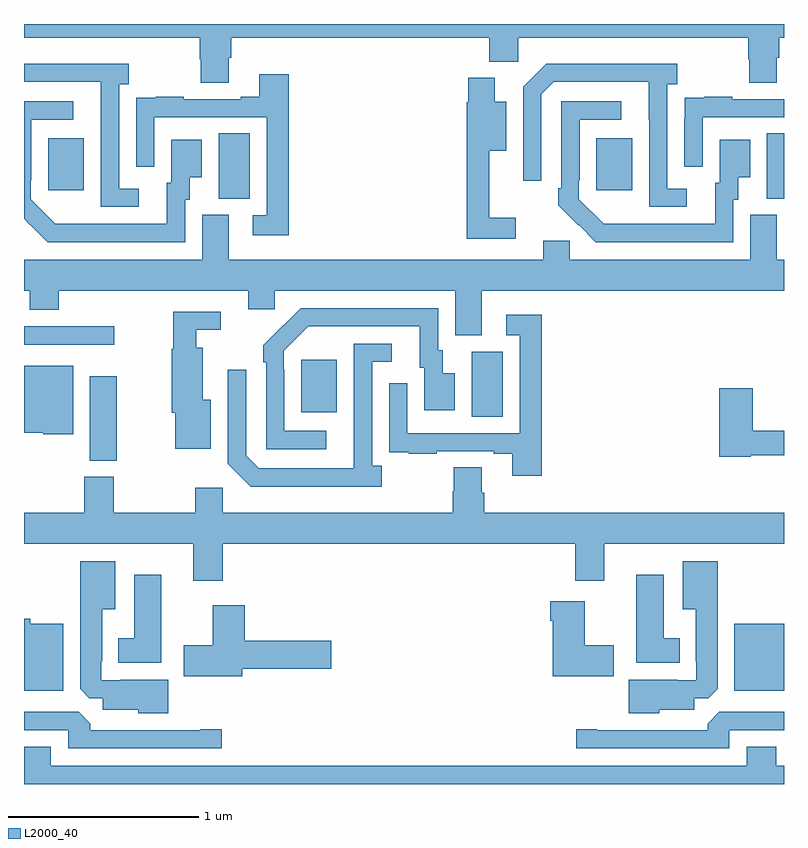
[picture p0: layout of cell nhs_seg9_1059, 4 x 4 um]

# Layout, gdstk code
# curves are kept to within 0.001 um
import gdstk
lib = gdstk.Library(unit=1e-6, precision=1e-09)
def R(c, l, rs):  # rectangles x0, y0, x1, y1
    for r in rs: c.add(gdstk.rectangle(r[:2], r[2:], *l))
def P(c, l, *ps):  # polygons
    for p in ps: c.add(gdstk.Polygon(p, *l))
L2000_40 = (2000, 40)

nhs_seg9_1059 = lib.new_cell('nhs_seg9_1059')
R(nhs_seg9_1059, L2000_40, [(172.739,1184.99,173,1185.343), (169.346,1186.201,169.488,1186.645), (171.356,1186.432,171.52,1186.776), (170.459,1186.457,170.647,1186.732), (169,1186.812,169.474,1186.908), (170.024,1187.581,170.188,1187.924), (172.91,1187.581,173,1187.924), (169.127,1187.625,169.315,1187.899), (172.013,1187.625,172.201,1187.899)])
P(nhs_seg9_1059, L2000_40, [(169,1188.428),(169.925,1188.428),(169.925,1188.315),(169.93,1188.315),(169.93,1188.19),(170.077,1188.19),(170.077,1188.322),(170.09,1188.322),(170.09,1188.428),(171.449,1188.428),(171.449,1188.302),(171.6,1188.302),(171.6,1188.428),(172.811,1188.428),(172.811,1188.315),(172.816,1188.315),(172.816,1188.19),(172.963,1188.19),(172.963,1188.322),(172.976,1188.322),(172.976,1188.428),(173,1188.428),(173,1188.5),(169,1188.5)],
  [(169.603,1187.634),(169.5,1187.634),(169.5,1188.182),(169.552,1188.182),(169.552,1188.292),(169,1188.292),(169,1188.195),(169.403,1188.195),(169.403,1187.995),(169.404,1187.995),(169.404,1187.538),(169.603,1187.538)],
  [(172.489,1187.634),(172.386,1187.634),(172.386,1188.182),(172.438,1188.182),(172.438,1188.292),(171.748,1188.292),(171.627,1188.171),(171.627,1187.676),(171.723,1187.676),(171.723,1188.129),(171.789,1188.195),(172.289,1188.195),(172.29,1187.538),(172.489,1187.538)],
  [(170.393,1188.235),(170.237,1188.235),(170.237,1188.118),(170.141,1188.118),(170.141,1188.105),(169.841,1188.105),(169.841,1188.118),(169.693,1188.118),(169.693,1188.111),(169.591,1188.111),(169.591,1188.002),(169.59,1188.002),(169.59,1187.748),(169.686,1187.748),(169.686,1188.009),(170.277,1188.009),(170.277,1187.493),(170.205,1187.493),(170.205,1187.388),(170.393,1187.388)],
  [(171.589,1187.479),(171.449,1187.479),(171.449,1187.834),(171.538,1187.834),(171.538,1188.091),(171.478,1188.091),(171.478,1188.217),(171.338,1188.217),(171.338,1188.087),(171.331,1188.087),(171.331,1187.37),(171.589,1187.37)],
  [(172.572,1188.009),(173,1188.009),(173,1188.105),(172.727,1188.105),(172.727,1188.118),(172.579,1188.118),(172.579,1188.111),(172.477,1188.111),(172.477,1188.002),(172.476,1188.002),(172.476,1187.748),(172.572,1187.748)],
  [(172.734,1187.574),(172.759,1187.574),(172.759,1187.693),(172.822,1187.693),(172.822,1187.89),(172.661,1187.89),(172.661,1187.664),(172.637,1187.664),(172.637,1187.448),(172.05,1187.449),(171.921,1187.577),(171.921,1187.677),(171.924,1187.677),(171.924,1187.997),(172.144,1187.997),(172.144,1188.093),(171.828,1188.093),(171.828,1187.635),(171.813,1187.635),(171.813,1187.547),(172.01,1187.352),(172.734,1187.352)],
  [(169.848,1187.574),(169.873,1187.574),(169.873,1187.693),(169.936,1187.693),(169.936,1187.89),(169.775,1187.89),(169.775,1187.664),(169.751,1187.664),(169.751,1187.448),(169.164,1187.449),(169.035,1187.577),(169.035,1187.677),(169.038,1187.677),(169.038,1187.997),(169.258,1187.997),(169.258,1188.093),(169,1188.093),(169,1187.474),(169.032,1187.442),(169.033,1187.443),(169.124,1187.352),(169.848,1187.352)],
  [(171.409,1187.096),(173,1187.096),(173,1187.26),(172.963,1187.26),(172.963,1187.496),(172.823,1187.496),(172.823,1187.26),(171.873,1187.26),(171.873,1187.358),(171.734,1187.358),(171.734,1187.26),(170.077,1187.26),(170.077,1187.496),(169.937,1187.496),(169.937,1187.26),(169,1187.26),(169,1187.096),(169.031,1187.096),(169.031,1186.997),(169.184,1186.997),(169.184,1187.096),(170.18,1187.096),(170.18,1186.998),(170.319,1186.998),(170.319,1187.096),(171.269,1187.096),(171.269,1186.861),(171.409,1186.861)],
  [(170.59,1186.359),(170.37,1186.359),(170.37,1186.679),(170.367,1186.679),(170.367,1186.779),(170.496,1186.908),(171.083,1186.908),(171.083,1186.692),(171.107,1186.692),(171.107,1186.467),(171.268,1186.467),(171.268,1186.663),(171.205,1186.663),(171.205,1186.782),(171.18,1186.782),(171.18,1187.004),(170.456,1187.004),(170.259,1186.809),(170.259,1186.721),(170.274,1186.721),(170.274,1186.263),(170.59,1186.263)],
  [(169.984,1186.522),(169.942,1186.522),(169.942,1186.795),(169.906,1186.795),(169.906,1186.89),(170.035,1186.89),(170.035,1186.986),(169.785,1186.986),(169.785,1186.791),(169.777,1186.791),(169.777,1186.455),(169.796,1186.455),(169.796,1186.265),(169.984,1186.265)],
  [(171.725,1186.969),(171.537,1186.969),(171.537,1186.863),(171.609,1186.863),(171.609,1186.347),(171.018,1186.347),(171.018,1186.609),(170.922,1186.609),(170.922,1186.354),(170.923,1186.354),(170.923,1186.245),(171.025,1186.245),(171.025,1186.239),(171.173,1186.239),(171.173,1186.251),(171.473,1186.251),(171.473,1186.239),(171.569,1186.239),(171.569,1186.122),(171.725,1186.122)],
  [(170.884,1186.174),(170.832,1186.174),(170.832,1186.722),(170.935,1186.722),(170.935,1186.818),(170.736,1186.818),(170.735,1186.161),(170.235,1186.161),(170.169,1186.227),(170.169,1186.681),(170.073,1186.681),(170.073,1186.185),(170.194,1186.064),(170.884,1186.064)],
  [(169.258,1186.702),(169,1186.702),(169,1186.349),(169.101,1186.349),(169.101,1186.34),(169.258,1186.34)],
  [(172.824,1186.23),(173,1186.23),(173,1186.358),(172.836,1186.358),(172.836,1186.582),(172.658,1186.582),(172.658,1186.222),(172.824,1186.222)],
  [(170.045,1185.764),(171.902,1185.764),(171.902,1185.57),(172.054,1185.57),(172.054,1185.764),(173,1185.764),(173,1185.928),(171.422,1185.928),(171.422,1186.034),(171.409,1186.034),(171.409,1186.166),(171.262,1186.166),(171.262,1186.041),(171.257,1186.041),(171.257,1185.928),(170.046,1185.928),(170.046,1186.06),(169.9,1186.06),(169.9,1185.928),(169.473,1185.928),(169.473,1186.116),(169.318,1186.116),(169.318,1185.928),(169,1185.928),(169,1185.764),(169.892,1185.764),(169.892,1185.57),(170.045,1185.57)],
  [(172.344,1184.891),(172.528,1184.891),(172.528,1184.952),(172.602,1184.952),(172.651,1185.001),(172.651,1185.673),(172.466,1185.673),(172.466,1185.419),(172.535,1185.419),(172.535,1185.145),(172.539,1185.145),(172.539,1185.045),(172.439,1185.045),(172.439,1185.049),(172.184,1185.049),(172.184,1184.873),(172.344,1184.873)],
  [(169.759,1185.049),(169.507,1185.049),(169.507,1185.045),(169.407,1185.045),(169.407,1185.145),(169.411,1185.145),(169.411,1185.419),(169.48,1185.419),(169.48,1185.673),(169.295,1185.673),(169.295,1185.001),(169.344,1184.952),(169.415,1184.952),(169.415,1184.891),(169.602,1184.891),(169.602,1184.873),(169.759,1184.873)],
  [(172.45,1185.268),(172.366,1185.268),(172.366,1185.601),(172.223,1185.601),(172.223,1185.137),(172.45,1185.137)],
  [(169.723,1185.601),(169.58,1185.601),(169.58,1185.268),(169.496,1185.268),(169.496,1185.137),(169.723,1185.137)],
  [(172.105,1185.231),(171.952,1185.231),(171.952,1185.463),(171.77,1185.463),(171.77,1185.359),(171.782,1185.359),(171.782,1185.068),(172.105,1185.068)],
  [(170.149,1185.107),(170.617,1185.107),(170.617,1185.254),(170.162,1185.254),(170.162,1185.442),(169.994,1185.442),(169.994,1185.231),(169.842,1185.231),(169.842,1185.068),(170.149,1185.068)],
  [(169.207,1185.343),(169.032,1185.343),(169.032,1185.37),(169,1185.37),(169,1184.99),(169.207,1184.99)],
  [(172.713,1184.784),(173,1184.784),(173,1184.88),(172.659,1184.88),(172.598,1184.818),(172.598,1184.784),(172.018,1184.784),(172.018,1184.789),(171.906,1184.789),(171.906,1184.688),(172.713,1184.688)],
  [(170.041,1184.789),(169.928,1184.789),(169.928,1184.784),(169.349,1184.784),(169.349,1184.818),(169.287,1184.88),(169,1184.88),(169,1184.784),(169.233,1184.784),(169.233,1184.688),(170.041,1184.688)],
  [(173,1184.596),(172.958,1184.596),(172.958,1184.695),(172.805,1184.695),(172.805,1184.596),(169.141,1184.596),(169.141,1184.695),(169,1184.695),(169,1184.5),(173,1184.5)])

lib.write_gds('nhs_seg9_1059.gds')
